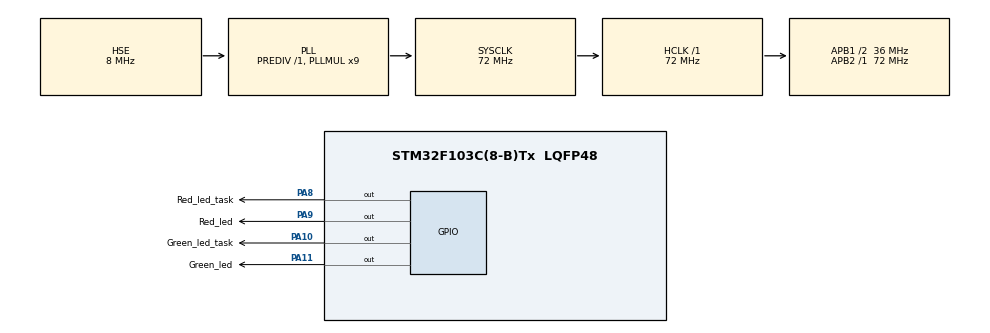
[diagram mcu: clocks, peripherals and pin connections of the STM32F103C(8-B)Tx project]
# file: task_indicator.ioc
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FREERTOS.Tasks01=defaultTask,24,128,StartDefaultTask,Default,NULL,Dynamic,NULL,NULL;GREEN_LED_TASK,24,128,GREEN_LED,Default,NULL,Dynamic,NULL,NULL;RED_LED_TASK,32,128,RED_LED,Default,NULL,Dynamic,NULL,NULL
FREERTOS.configTOTAL_HEAP_SIZE=3600
FREERTOS.configUSE_NEWLIB_REENTRANT=1
Mcu.Family=STM32F1
Mcu.Name=STM32F103C(8-B)Tx
Mcu.Package=LQFP48
NVIC.PriorityGroup=NVIC_PRIORITYGROUP_4
NVIC.TIM4_IRQn=true\:15\:0\:false\:false\:true\:false\:false\:true\:true
NVIC.TimeBase=TIM4_IRQn
NVIC.TimeBaseIP=TIM4
PA10.GPIO_Label=Green_led_task
PA10.Signal=GPIO_Output
PA11.GPIO_Label=Green_led
PA11.Signal=GPIO_Output
PA13.Mode=Serial_Wire
PA13.Signal=SYS_JTMS-SWDIO
PA14.Mode=Serial_Wire
PA14.Signal=SYS_JTCK-SWCLK
PA8.GPIO_Label=Red_led_task
PA8.Signal=GPIO_Output
PA9.GPIO_Label=Red_led
PA9.Signal=GPIO_Output
PD0-OSC_IN.Mode=HSE-External-Oscillator
PD0-OSC_IN.Signal=RCC_OSC_IN
PD1-OSC_OUT.Mode=HSE-External-Oscillator
PD1-OSC_OUT.Signal=RCC_OSC_OUT
ProjectManager.HeapSize=0x200
ProjectManager.StackSize=0x400
ProjectManager.TargetToolchain=STM32CubeIDE
RCC.AHBFreq_Value=72000000
RCC.APB1CLKDivider=RCC_HCLK_DIV2
RCC.APB1Freq_Value=36000000
RCC.APB1TimFreq_Value=72000000
RCC.APB2Freq_Value=72000000
RCC.APB2TimFreq_Value=72000000
RCC.HCLKFreq_Value=72000000
RCC.PLLMUL=RCC_PLL_MUL9
RCC.PLLSourceVirtual=RCC_PLLSOURCE_HSE
RCC.SYSCLKFreq_VALUE=72000000
RCC.SYSCLKSource=RCC_SYSCLKSOURCE_PLLCLK
RCC.USBFreq_Value=72000000
VP_FREERTOS_VS_CMSIS_V2.Mode=CMSIS_V2
VP_SYS_VS_tim4.Mode=TIM4
board=custom

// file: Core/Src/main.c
/* USER CODE BEGIN Header */
/**
  ******************************************************************************
  * @file           : main.c
  * @brief          : Main program body
  ******************************************************************************
  * @attention
  *
  * Copyright (c) 2024 STMicroelectronics.
  * All rights reserved.
  *
  * This software is licensed under terms that can be found in the LICENSE file
  * in the root directory of this software component.
  * If no LICENSE file comes with this software, it is provided AS-IS.
  *
  ******************************************************************************
  */
/* USER CODE END Header */
#include "main.h"
#include "cmsis_os.h"

/* Definitions for defaultTask */
osThreadId_t defaultTaskHandle;
const osThreadAttr_t defaultTask_attributes = {
  .name = "defaultTask",
  .stack_size = 128 * 4,
  .priority = (osPriority_t) osPriorityNormal,
};
/* Definitions for GREEN_LED_TASK */
osThreadId_t GREEN_LED_TASKHandle;
const osThreadAttr_t GREEN_LED_TASK_attributes = {
  .name = "GREEN_LED_TASK",
  .stack_size = 128 * 4,
  .priority = (osPriority_t) osPriorityNormal,
};
/* Definitions for RED_LED_TASK */
osThreadId_t RED_LED_TASKHandle;
const osThreadAttr_t RED_LED_TASK_attributes = {
  .name = "RED_LED_TASK",
  .stack_size = 128 * 4,
  .priority = (osPriority_t) osPriorityAboveNormal,
};

void SystemClock_Config(void);
static void MX_GPIO_Init(void);
void StartDefaultTask(void *argument);
void GREEN_LED(void *argument);
void RED_LED(void *argument);

int main(void)
{

  /* MCU Configuration--------------------------------------------------------*/

  /* Reset of all peripherals, Initializes the Flash interface and the Systick. */
  HAL_Init();

  /* Configure the system clock */
  SystemClock_Config();

  /* Initialize all configured peripherals */
  MX_GPIO_Init();

  /* Init scheduler */
  osKernelInitialize();

  /* Create the thread(s) */
  /* creation of defaultTask */
  defaultTaskHandle = osThreadNew(StartDefaultTask, NULL, &defaultTask_attributes);

  /* creation of GREEN_LED_TASK */
  GREEN_LED_TASKHandle = osThreadNew(GREEN_LED, NULL, &GREEN_LED_TASK_attributes);

  /* creation of RED_LED_TASK */
  RED_LED_TASKHandle = osThreadNew(RED_LED, NULL, &RED_LED_TASK_attributes);

  /* Start scheduler */
  osKernelStart();

  /* We should never get here as control is now taken by the scheduler */

  /* Infinite loop */
  while (1)
  {

  }
}

void SystemClock_Config(void)
{
  RCC_OscInitTypeDef RCC_OscInitStruct = {0};
  RCC_ClkInitTypeDef RCC_ClkInitStruct = {0};

  /** Initializes the RCC Oscillators according to the specified parameters
  * in the RCC_OscInitTypeDef structure.
  */
  RCC_OscInitStruct.OscillatorType = RCC_OSCILLATORTYPE_HSE;
  RCC_OscInitStruct.HSEState = RCC_HSE_ON;
  RCC_OscInitStruct.HSEPredivValue = RCC_HSE_PREDIV_DIV1;
  RCC_OscInitStruct.HSIState = RCC_HSI_ON;
  RCC_OscInitStruct.PLL.PLLState = RCC_PLL_ON;
  RCC_OscInitStruct.PLL.PLLSource = RCC_PLLSOURCE_HSE;
  RCC_OscInitStruct.PLL.PLLMUL = RCC_PLL_MUL9;
  if (HAL_RCC_OscConfig(&RCC_OscInitStruct) != HAL_OK)
  {
    Error_Handler();
  }

  /** Initializes the CPU, AHB and APB buses clocks
  */
  RCC_ClkInitStruct.ClockType = RCC_CLOCKTYPE_HCLK|RCC_CLOCKTYPE_SYSCLK
                              |RCC_CLOCKTYPE_PCLK1|RCC_CLOCKTYPE_PCLK2;
  RCC_ClkInitStruct.SYSCLKSource = RCC_SYSCLKSOURCE_PLLCLK;
  RCC_ClkInitStruct.AHBCLKDivider = RCC_SYSCLK_DIV1;
  RCC_ClkInitStruct.APB1CLKDivider = RCC_HCLK_DIV2;
  RCC_ClkInitStruct.APB2CLKDivider = RCC_HCLK_DIV1;

  if (HAL_RCC_ClockConfig(&RCC_ClkInitStruct, FLASH_LATENCY_2) != HAL_OK)
  {
    Error_Handler();
  }
}

static void MX_GPIO_Init(void)
{
  GPIO_InitTypeDef GPIO_InitStruct = {0};

  /* GPIO Ports Clock Enable */
  __HAL_RCC_GPIOD_CLK_ENABLE();
  __HAL_RCC_GPIOA_CLK_ENABLE();

  /*Configure GPIO pin Output Level */
  HAL_GPIO_WritePin(GPIOA, Red_led_task_Pin|Red_led_Pin|Green_led_task_Pin|Green_led_Pin, GPIO_PIN_RESET);

  /*Configure GPIO pins : Red_led_task_Pin Red_led_Pin Green_led_task_Pin Green_led_Pin */
  GPIO_InitStruct.Pin = Red_led_task_Pin|Red_led_Pin|Green_led_task_Pin|Green_led_Pin;
  GPIO_InitStruct.Mode = GPIO_MODE_OUTPUT_PP;
  GPIO_InitStruct.Pull = GPIO_NOPULL;
  GPIO_InitStruct.Speed = GPIO_SPEED_FREQ_LOW;
  HAL_GPIO_Init(GPIOA, &GPIO_InitStruct);

}

void StartDefaultTask(void *argument)
{
  for(;;)
  {
    osDelay(1);
  }
}

void GREEN_LED(void *argument)
{
  /* USER CODE BEGIN GREEN_LED */
  /* Infinite loop */
  for(;;)
  {
	  HAL_GPIO_WritePin(Green_led_task_GPIO_Port, Green_led_task_Pin, 1);
	  HAL_GPIO_WritePin(Green_led_GPIO_Port, Green_led_Pin, 0);
	  for (int var = 0; var < 80; ++var) {
		  HAL_GPIO_TogglePin(Green_led_GPIO_Port, Green_led_Pin);
		  HAL_Delay(25);
		  HAL_GPIO_TogglePin(Green_led_GPIO_Port, Green_led_Pin);
		  HAL_Delay(25);
	  }
	  HAL_GPIO_WritePin(Green_led_task_GPIO_Port, Green_led_task_Pin, 0);
	  osDelay(6000);
  }
  /* USER CODE END GREEN_LED */
}

void RED_LED(void *argument)
{
  /* USER CODE BEGIN RED_LED */
  /* Infinite loop */
  for(;;)
  {
	  HAL_GPIO_WritePin(Red_led_task_GPIO_Port, Red_led_task_Pin, 1);
	  HAL_GPIO_WritePin(Red_led_GPIO_Port, Red_led_Pin, 0);
	  for (int var = 0; var < 10; ++var) {
		  HAL_GPIO_TogglePin(Red_led_GPIO_Port, Red_led_Pin);
		  HAL_Delay(25);
		  HAL_GPIO_TogglePin(Red_led_GPIO_Port, Red_led_Pin);
		  HAL_Delay(25);
	  }
	  HAL_GPIO_WritePin(Red_led_task_GPIO_Port, Red_led_task_Pin, 0);
	  osDelay(1500);
  }
  /* USER CODE END RED_LED */
}

void HAL_TIM_PeriodElapsedCallback(TIM_HandleTypeDef *htim)
{
  if (htim->Instance == TIM4) {
    HAL_IncTick();
  }
}

void Error_Handler(void)
{
  __disable_irq();
  while (1)
  {
  }
}
